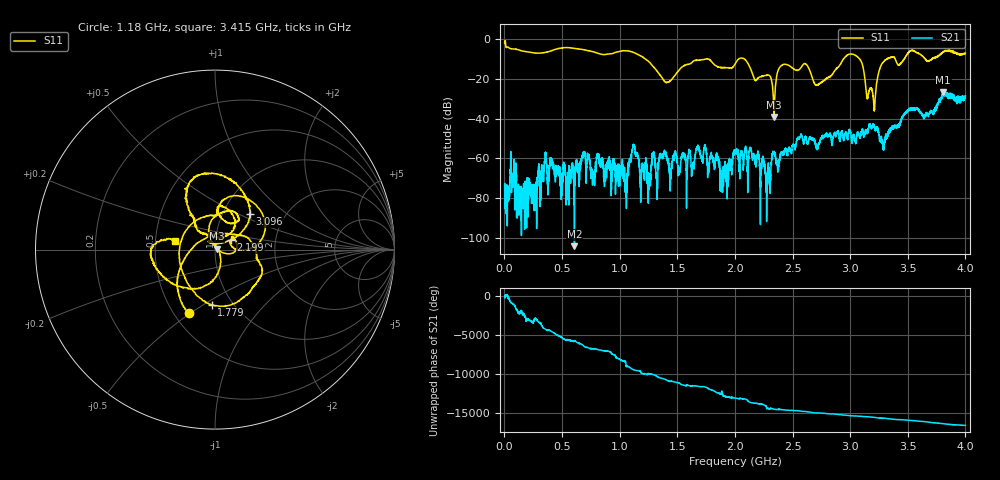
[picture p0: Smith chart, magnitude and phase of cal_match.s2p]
!Created with skrf (http://scikit-rf.org).
# GHz S RI R 50.0
!freq ReS11 ImS11 ReS21 ImS21 ReS12 ImS12 ReS22 ImS22
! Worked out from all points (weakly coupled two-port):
!   4000 points, 1 MHz to 4 GHz, reference 50 ohm
!   highest |S21| = -26.66 dB at 3.807 GHz (marker M1); lowest = -104.4 dB at 607 MHz (marker M2)
!   lowest |S11| = -39.2 dB at 2.339 GHz (marker M3), VSWR 1.02, Z = 51 + j0.504 ohm
!   |S11| at or under -10 dB: 1.225 GHz to 1.743 GHz (518.1 MHz wide, 34.9 % of centre); 1.771 GHz to 2.03 GHz (259.4 MHz wide, 13.6 % of centre); 2.083 GHz to 2.941 GHz (857.7 MHz wide, 34.1 % of centre) (the widest 3 of 8)
!   S12 and S22 are empty: the file has one direction only
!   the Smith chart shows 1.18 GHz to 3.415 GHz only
!   S11 on the Smith chart (normalised r, x): 1.18 GHz: 0.59, -0.49; 1.779 GHz: 0.80, -0.54; 2.199 GHz: 1.19, +0.13; 3.096 GHz: 1.34, +0.57; 3.415 GHz: 0.63, +0.06
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0.001  0.8089 -0.0791  0.000117 -9.84e-05  0 0  0 0
0.043  -0.5963 -0.0884  9.72e-06 -0.000106  0 0  0 0
0.152  -0.1017 0.499  0.0001 -4.85e-05  0 0  0 0
0.3  0.4501 -0.00496  -0.000406 -0.000242  0 0  0 0
0.607  -0.5852 -0.0838  3.63e-06 4.84e-06  0 0  0 0
0.668  -0.5212 0.2004  0.000312 -0.000807  0 0  0 0
0.933  0.4362 0.00567  -0.000381 0.000403  0 0  0 0
1.18  -0.1454 -0.3553  8.19e-05 0.000163  0 0  0 0
1.334  -0.1442 -0.0139  0.000542 -2.67e-05  0 0  0 0
1.779  -0.0193 -0.3072  -0.000456 -0.000812  0 0  0 0
2.001  0.0202 0.2361  -0.00155 -0.000308  0 0  0 0
2.199  0.0894 0.0546  -0.00126 -0.000201  0 0  0 0
2.287  0.1198 0.0412  0.000209 -0.000275  0 0  0 0
2.339  0.00974 0.00494  -0.00124 -0.000387  0 0  0 0
2.417  0.081 0.2152  -0.000311 0.00134  0 0  0 0
2.667  0.0797 0.0858  -0.0022 0.00215  0 0  0 0
3.096  0.1941 0.1964  0.00448 -0.0003  0 0  0 0
3.204  0.00337 0.0249  -0.00538 -0.00426  0 0  0 0
3.334  -0.3101 -0.1242  0.00363 0.00313  0 0  0 0
3.415  -0.2251 0.0466  0.00195 -0.00656  0 0  0 0
3.807  0.2509 0.4105  -0.0199 0.042  0 0  0 0
4  0.175 -0.4089  -0.012 -0.0358  0 0  0 0
